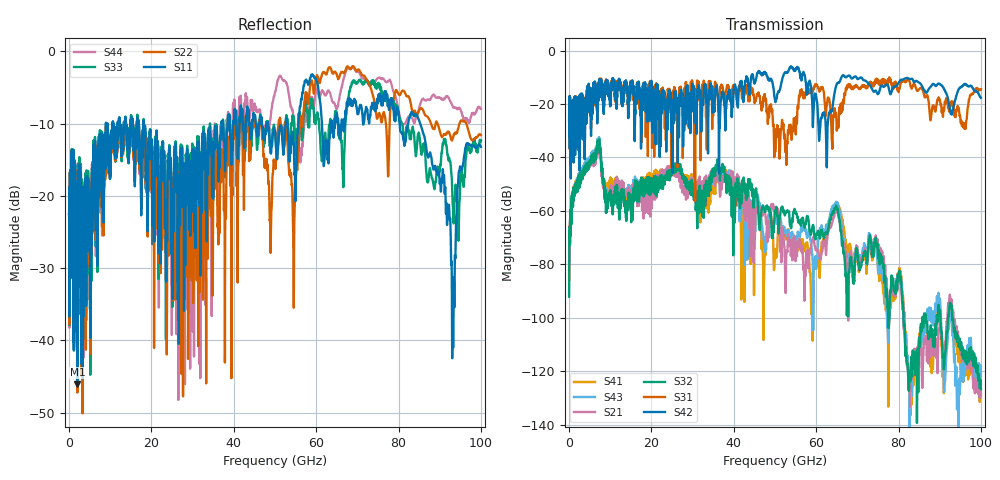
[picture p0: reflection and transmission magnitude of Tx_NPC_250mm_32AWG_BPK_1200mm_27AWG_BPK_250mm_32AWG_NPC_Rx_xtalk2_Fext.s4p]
! Info: Touchstone file created by Circ.  Input file=Tx_NPC_250mm_32AWG_BPK_1200mm_27AWG_BPK_250mm_32AWG_NPC_Rx.circ
# Hz S RI R 50
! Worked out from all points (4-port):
!   10000 points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, 10 MHz to 100 GHz, reference 50 ohm
!   strongest paths, dB at 10 MHz, 25.01 GHz, 50.01 GHz, 75.01 GHz, 100 GHz:
!     S42: -26.4, -19.9, -18.4, -16.3, -17.6
!     S31: -26.4, -24.0, -34.7, -10.9, -14.4
!     S32: -92.1, -43.8, -59.9, -76.6, -126.7
!     S21: -78.9, -43.6, -59.8, -74.7, -128.5
!     S43: -79.4, -42.8, -61.3, -81.9, -121.9
!     S41: -85.9, -44.7, -74.8, -81.9, -129.4
!   lowest |S11| = -46.1 dB at 2.01 GHz (marker M1), VSWR 1.01, Z = 50.1 - j0.489 ohm
!   |S11| at or under -10 dB: start of sweep to 8.951 GHz; 18.15 GHz to 37.03 GHz (18.88 GHz wide, 68.4 % of centre); 85.24 GHz to end of sweep (the widest 3 of 48)
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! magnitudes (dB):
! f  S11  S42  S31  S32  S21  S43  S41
! 10 MHz  -22.4  -26.4  -26.4  -92.1  -78.9  -79.4  -85.9
! 2.01 GHz  -46.1  -28.3  -28.0  -48.8  -48.9  -48.0  -47.8
! 37.7 GHz  -12.1  -20.2  -18.3  -43.9  -45.5  -43.8  -43.7
! 59.19 GHz  -3.3  -28.4  -14.7  -65.4  -70.2  -80.9  -99.0
! 65.02 GHz  -8.6  -12.4  -29.9  -59.3  -60.2  -57.2  -57.4
! 93.25 GHz  -39.4  -21.8  -21.0  -100.7  -97.6  -106.8  -100.8
! 100 GHz  -13.2  -17.6  -14.4  -126.7  -128.5  -121.9  -129.4
